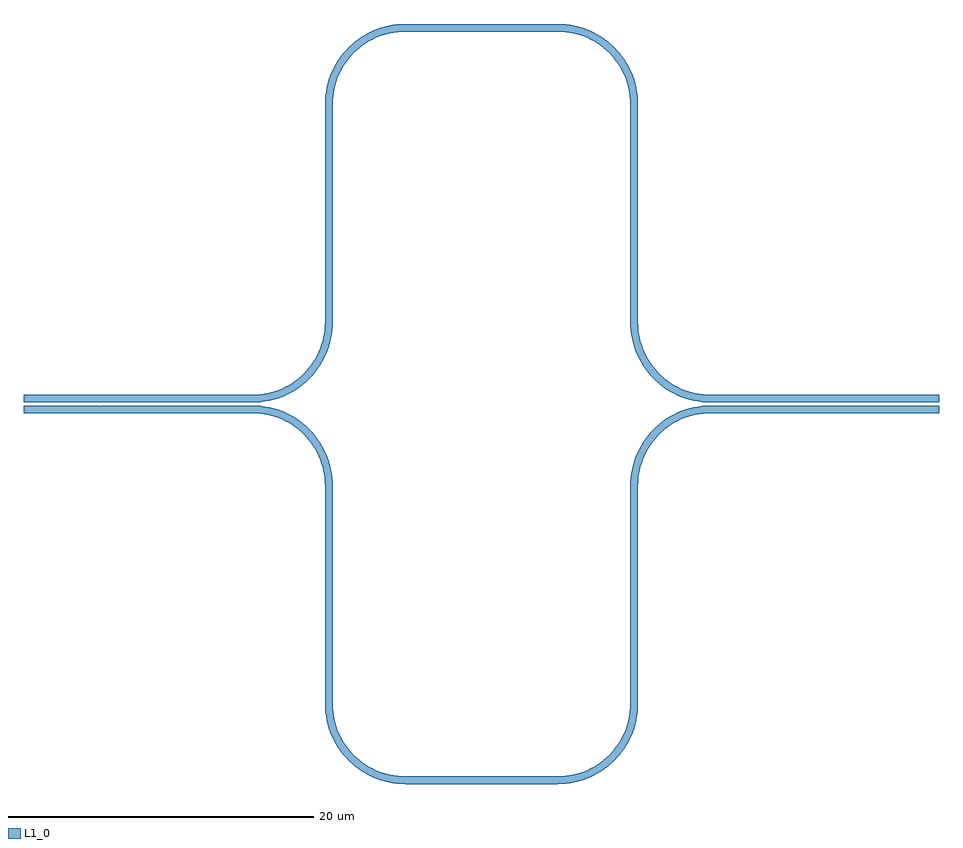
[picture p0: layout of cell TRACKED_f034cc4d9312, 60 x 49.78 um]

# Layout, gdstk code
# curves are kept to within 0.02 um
import gdstk
lib = gdstk.Library(unit=1e-6, precision=1e-09)
def R(c, l, rs):  # rectangles x0, y0, x1, y1
    for r in rs: c.add(gdstk.rectangle(r[:2], r[2:], *l))
def P(c, l, *ps):  # polygons
    for p in ps: c.add(gdstk.Polygon(p, *l))
L1_0 = (1, 0)

straight_gdsfactorypcomp = lib.new_cell('straight_gdsfactorypcomponentspwaveguidespstraight_L10__8e980daf$1')
P(straight_gdsfactorypcomp, L1_0, [(0,-0.25),(0,0.25),(4.95,0.25),(4.95,0.2),(5.05,0.2),(5.05,0.25),(10,0.25),(10,-0.25)])

c_straight_gdsfactorypcomp = lib.new_cell('straight_gdsfactorypcomponentspwaveguidespstraight_L10__8e980daf')
R(c_straight_gdsfactorypcomp, L1_0, [(0,-0.25,10,0.25)])

parallel_coupler_wu0p5_g = lib.new_cell('parallel_coupler_WU0p5_GU0p2_CLU10$1')
parallel_coupler_wu0p5_g.add(gdstk.Reference(straight_gdsfactorypcomp, (0,0)))
parallel_coupler_wu0p5_g.add(gdstk.Reference(c_straight_gdsfactorypcomp, (0,0.7)))

c_parallel_coupler_wu0p5_g = lib.new_cell('parallel_coupler_WU0p5_GU0p2_CLU10')
c_parallel_coupler_wu0p5_g.add(gdstk.Reference(c_straight_gdsfactorypcomp, (0,0)))
c_parallel_coupler_wu0p5_g.add(gdstk.Reference(c_straight_gdsfactorypcomp, (0,0.7)))

mzi_arm_wu0p5_ru5_eu24p2 = lib.new_cell('mzi_arm_WU0p5_RU5_EU24p292036732051034_SU40_Sm1')
P(mzi_arm_wu0p5_ru5_eu24p2, L1_0, [(14.997,-24.542),(14.179,-24.477),(13.378,-24.285),(12.865,-24.088),(12.375,-23.839),(11.696,-23.372),(11.098,-22.805),(10.597,-22.151),(10.204,-21.427),(9.929,-20.651),(9.779,-19.841),(9.75,-19.295),(9.743,-4.751),(9.691,-4.257),(9.588,-3.771),(9.339,-3.068),(9.114,-2.625),(8.843,-2.208),(8.53,-1.822),(7.989,-1.309),(7.375,-0.886),(6.932,-0.661),(6.468,-0.483),(5.988,-0.354),(5.249,-0.257),(0,-0.25),(0,0.25),(5.275,0.243),(5.821,0.185),(6.359,0.071),(6.881,-0.099),(7.383,-0.322),(8.086,-0.753),(8.513,-1.098),(8.902,-1.487),(9.403,-2.141),(9.678,-2.617),(9.993,-3.378),(10.135,-3.908),(10.243,-4.725),(10.25,-19.289),(10.276,-19.789),(10.412,-20.521),(10.661,-21.224),(11.016,-21.879),(11.309,-22.281),(11.641,-22.651),(12.208,-23.135),(12.844,-23.524),(13.532,-23.809),(14.257,-23.983),(15.003,-24.042),(24.997,-24.042),(25.497,-24.016),(26.229,-23.88),(26.932,-23.631),(27.587,-23.276),(27.989,-22.983),(28.359,-22.651),(28.691,-22.281),(28.984,-21.879),(29.339,-21.224),(29.588,-20.521),(29.724,-19.789),(29.75,-19.289),(29.757,-4.725),(29.815,-4.179),(29.929,-3.641),(30.099,-3.119),(30.322,-2.617),(30.597,-2.141),(30.92,-1.696),(31.288,-1.288),(31.696,-0.92),(32.141,-0.597),(32.617,-0.322),(33.119,-0.099),(33.641,0.071),(34.179,0.185),(34.725,0.243),(40,0.25),(40,-0.25),(34.751,-0.257),(34.012,-0.354),(33.532,-0.483),(33.068,-0.661),(32.625,-0.886),(32.208,-1.157),(31.822,-1.47),(31.47,-1.822),(31.157,-2.208),(30.768,-2.844),(30.566,-3.298),(30.412,-3.771),(30.309,-4.257),(30.257,-4.751),(30.25,-19.295),(30.221,-19.841),(30.071,-20.651),(29.901,-21.173),(29.678,-21.676),(29.247,-22.378),(28.712,-23.004),(28.086,-23.539),(27.383,-23.97),(26.881,-24.193),(26.359,-24.363),(25.549,-24.513),(25.003,-24.542)])

c_mzi_arm_wu0p5_ru5_eu24p2 = lib.new_cell('mzi_arm_WU0p5_RU5_EU24p292036732051034_SU40_S1')
P(c_mzi_arm_wu0p5_ru5_eu24p2, L1_0, [(0,-0.25),(0,0.25),(5.249,0.257),(5.988,0.354),(6.468,0.483),(6.932,0.661),(7.375,0.886),(7.989,1.309),(8.53,1.822),(8.843,2.208),(9.114,2.625),(9.339,3.068),(9.588,3.771),(9.691,4.257),(9.743,4.751),(9.75,19.295),(9.779,19.841),(9.929,20.651),(10.204,21.427),(10.597,22.151),(11.098,22.805),(11.696,23.372),(12.375,23.839),(12.865,24.088),(13.378,24.285),(14.179,24.477),(14.997,24.542),(25.003,24.542),(25.549,24.513),(26.359,24.363),(26.881,24.193),(27.383,23.97),(28.086,23.539),(28.712,23.004),(29.247,22.378),(29.678,21.676),(29.901,21.173),(30.071,20.651),(30.221,19.841),(30.25,19.295),(30.257,4.751),(30.309,4.257),(30.412,3.771),(30.566,3.298),(30.768,2.844),(31.016,2.413),(31.309,2.011),(31.641,1.641),(32.011,1.309),(32.413,1.016),(32.844,0.768),(33.298,0.566),(33.771,0.412),(34.503,0.276),(35.003,0.25),(40,0.25),(40,-0.25),(34.725,-0.243),(34.179,-0.185),(33.641,-0.071),(33.119,0.099),(32.617,0.322),(32.141,0.597),(31.696,0.92),(31.288,1.288),(30.92,1.696),(30.597,2.141),(30.322,2.617),(30.099,3.119),(29.929,3.641),(29.815,4.179),(29.757,4.725),(29.75,19.289),(29.724,19.789),(29.588,20.521),(29.339,21.224),(28.984,21.879),(28.691,22.281),(28.359,22.651),(27.989,22.983),(27.587,23.276),(26.932,23.631),(26.229,23.88),(25.497,24.016),(24.997,24.042),(15.003,24.042),(14.257,23.983),(13.532,23.809),(12.844,23.524),(12.208,23.135),(11.641,22.651),(11.309,22.281),(11.016,21.879),(10.661,21.224),(10.412,20.521),(10.276,19.789),(10.25,19.289),(10.243,4.725),(10.135,3.908),(9.993,3.378),(9.678,2.617),(9.403,2.141),(8.902,1.487),(8.513,1.098),(8.086,0.753),(7.383,0.322),(6.881,0.099),(6.359,-0.071),(5.821,-0.185),(5.275,-0.243)])

tracked_f034cc4d9312 = lib.new_cell('TRACKED_f034cc4d9312')
tracked_f034cc4d9312.add(gdstk.Reference(parallel_coupler_wu0p5_g, (0,0)))
tracked_f034cc4d9312.add(gdstk.Reference(c_parallel_coupler_wu0p5_g, (50,0)))
tracked_f034cc4d9312.add(gdstk.Reference(mzi_arm_wu0p5_ru5_eu24p2, (10,0)))
tracked_f034cc4d9312.add(gdstk.Reference(c_mzi_arm_wu0p5_ru5_eu24p2, (10,0.7)))

lib.write_gds('TRACKED_f034cc4d9312.gds')
